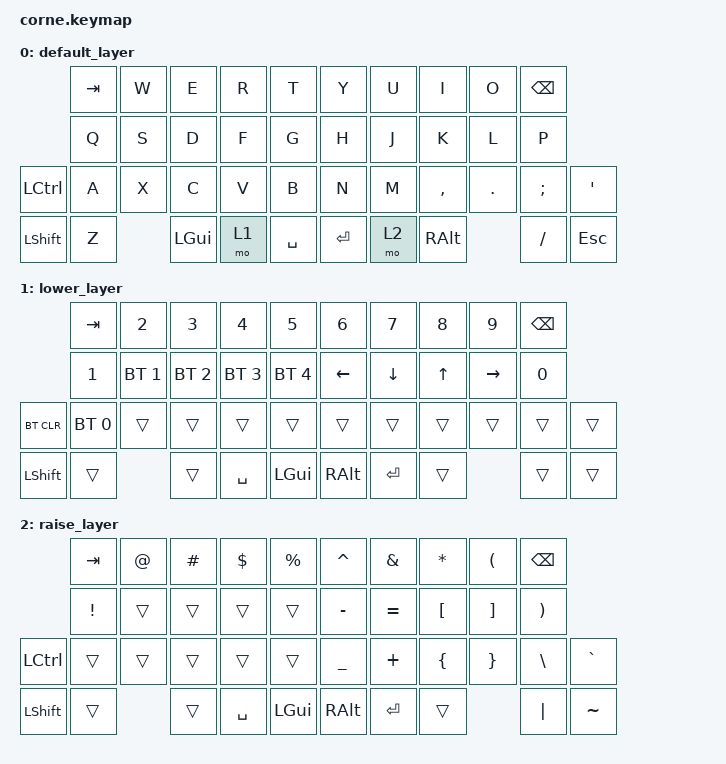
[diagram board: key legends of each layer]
/*
 * Copyright (c) 2020 The ZMK Contributors
 *
 * SPDX-License-Identifier: MIT
 */

#include <behaviors.dtsi>
#include <dt-bindings/zmk/keys.h>
#include <dt-bindings/zmk/bt.h>

/ {
        keymap {
                compatible = "zmk,keymap";

                default_layer {
// -----------------------------------------------------------------------------------------
// |      | TAB |  W  |  E  |  R  |  T  |   |  Y  |  U  |  I  |  O  | BSPC|     |
// |      |  Q  |  S  |  D  |  F  |  G  |   |  H  |  J  |  K  |  L  |  P  |     |
// | CTRL |  A  |  X  |  C  |  V  |  B  |   |  N  |  M  |  ,  |  .  |  ;  |  '  |
// | SHFT |  Z  |     | LWR | SPC | GUI |   | ALT | ENT | RSE |     |  /  | ESC |
                        bindings = <
             &kp TAB &kp W &kp E    &kp R &kp T       &kp Y   &kp U  &kp I     &kp O   &kp BSPC
             &kp Q   &kp S &kp D    &kp F &kp G       &kp H   &kp J  &kp K     &kp L   &kp P
   &kp LCTRL &kp A   &kp X &kp C    &kp V &kp B       &kp N   &kp M  &kp COMMA &kp DOT &kp SEMI &kp SQT
   &kp LSHFT &kp Z         &kp LGUI &mo 1 &kp SPACE   &kp RET &mo 2  &kp RALT          &kp FSLH &kp ESC
                        >;
                };
                lower_layer {
// -----------------------------------------------------------------------------------------
// |      | TAB |  2  |  3  |  4  |  5  |   |  6  |  7  |  8  |  9  | BSPC|      |
// |      |  1  | BT2 | BT3 | BT4 | BT5 |   | LFT | DWN |  UP | RGT |  0  |      |
// | BTCLR| BT1 |     |     |     |     |   |     |     |     |     |     |      |
// | SHFT |     |     |     | SPC | GUI |   | ALT | ENT |     |     |     |      |
                        bindings = <
              &kp TAB      &kp N2       &kp N3       &kp N4       &kp N5         &kp N6   &kp N7   &kp N8 &kp N9    &kp BSPC
              &kp N1       &bt BT_SEL 1 &bt BT_SEL 2 &bt BT_SEL 3 &bt BT_SEL 4   &kp LEFT &kp DOWN &kp UP &kp RIGHT &kp N0
   &bt BT_CLR &bt BT_SEL 0 &trans       &trans       &trans       &trans         &trans   &trans   &trans &trans    &trans   &trans
   &kp LSHFT  &trans                    &trans       &kp SPACE    &kp LGUI       &kp RALT &kp RET  &trans           &trans   &trans
                        >;
                };

                raise_layer {
// -----------------------------------------------------------------------------------------
// |      | TAB |  @  |  #  |  $  |  %  |   |  ^  |  &  |  *  |  (  | BSPC|      |
// |      |  !  |     |     |     |     |   |  -  |  =  |  [  |  ]  |  )  |      |
// | CTRL |     |     |     |     |     |   |  _  |  +  |  {  |  }  |  \  |  `   |
// | SHFT |     |     |     | SPC | GUI |   | ALT | ENT |     |     | "|" |  ~   |
                        bindings = <
             &kp  TAB &kp AT &kp HASH &kp DLLR  &kp PRCNT   &kp CARET &kp AMPS  &kp ASTRK &kp LPAR &kp BSPC
             &kp EXCL &trans &trans   &trans    &trans      &kp MINUS &kp EQUAL &kp LBKT  &kp RBKT &kp RPAR 
   &kp LCTRL &trans   &trans &trans   &trans    &trans      &kp UNDER &kp PLUS  &kp LBRC  &kp RBRC &kp BSLH &kp GRAVE
   &kp LSHFT &trans          &trans   &kp SPACE &kp LGUI    &kp RALT  &kp RET   &trans             &kp PIPE &kp TILDE
                        >;
                };
        };
};
